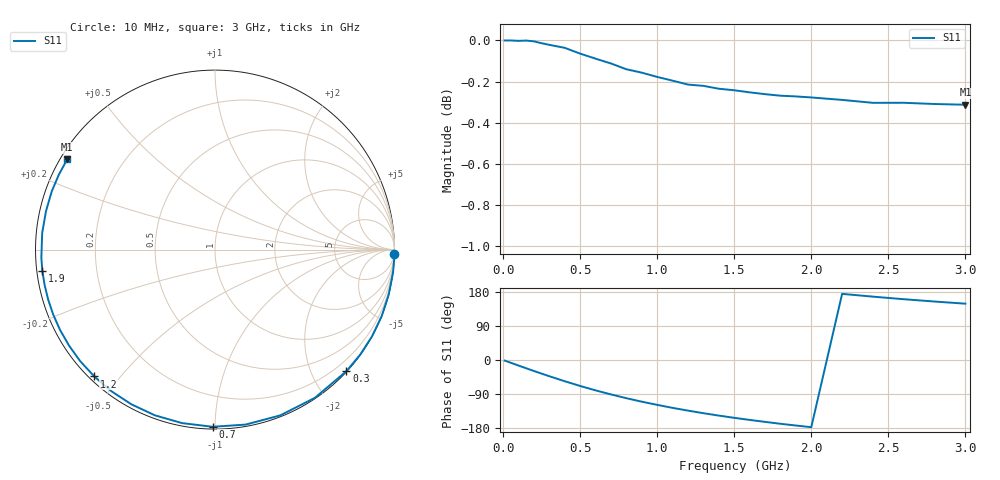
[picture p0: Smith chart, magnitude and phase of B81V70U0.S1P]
! SIEMENS Discrete & RF Semiconductors
! BBY53-03W
! Si Tuning Diode in SOD323
! VR = 1.75 V
! S-Parameters:  May  1997
# GHz  S  MA  R  50
!  f  S11
! GHz  MAG  ANG
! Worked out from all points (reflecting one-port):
!   30 points, 10 MHz to 3 GHz, reference 50 ohm
!   lowest |S11| = -0.3 dB at 3 GHz (marker M1), VSWR 55.59, Z = 0.97 + j14 ohm
!   phase of S11 starts at -2 deg and turns -210 deg over the sweep
!   S11 on the Smith chart (normalised r, x): 10 MHz: 0, -76; 300 MHz: 0.01, -2.55; 700 MHz: 0.01, -0.99; 1.2 GHz: 0.01, -0.43; 1.9 GHz: 0.02, -0.06; 3 GHz: 0.02, +0.28
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0.01  1 -1.5
0.05  1 -7.3
0.1  0.9998 -14.6
0.15  0.9999 -21.8
0.2  0.9995 -29.0
0.25  0.9984 -35.9
0.3  0.9976 -42.8
0.4  0.9959 -56.0
0.5  0.9927 -68.5
0.6  0.9899 -80.1
0.7  0.9872 -90.8
0.8  0.984 -100.8
0.9  0.9821 -110.0
1  0.9798 -118.4
1.1  0.9777 -126.3
1.2  0.9756 -133.6
1.3  0.9749 -140.4
1.4  0.9733 -146.7
1.5  0.9725 -152.6
1.6  0.9714 -158.1
1.7  0.9704 -163.3
1.9  0.9692 -172.9
2  0.9686 -177.3
2.2  0.9673 174.5
2.4  0.9657 167.2
2.6  0.9657 160.4
2.8  0.965 154.3
3  0.9647 148.6
